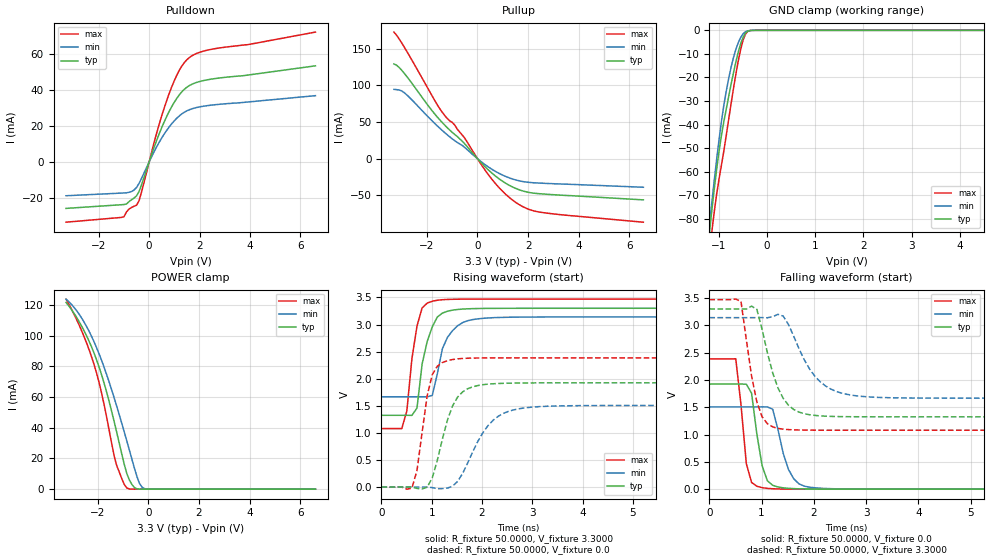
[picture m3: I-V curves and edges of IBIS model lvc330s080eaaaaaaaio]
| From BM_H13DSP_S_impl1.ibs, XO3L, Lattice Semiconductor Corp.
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[Model]   lvc330s080eaaaaaaaio
Model_type   I/O
Polarity   Non-Inverting
Enable   Active-Low
Vinl =   0.8000V
Vinh =   2.0000V
Vmeas =   1.500000V
Cref =   0.0F
Rref =   1.0000M
Vref =   0.0V
C_comp   4.2000pF   3.8000pF   7.5000pF
[Temperature Range]   25.0000   0.1250k   -40.0000
[Voltage Range]   3.3000V   3.1400V   3.4700V
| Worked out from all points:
|   slope of the pulldown table from 0 to 0.495 V, typ, clamps not added: 26 ohm
|   slope of the pullup table from 0 to 0.495 V, typ, clamps not added: 28.5 ohm
|   GND clamp passes 1 mA (typ) near -0.44 V on its own axis
|   POWER clamp passes 1 mA (typ) near -0.54 V on its own axis
|   rising waveform, R_fixture 50.0000, V_fixture 3.3000: 20-80 % time 251ps typ, 301ps min, 192ps max; typ from 1.32 V to 3.3 V
|   rising waveform, R_fixture 50.0000, V_fixture 0.0: 20-80 % time 363ps typ, 551ps min, 235ps max; typ from 0 V to 1.92 V
|   falling waveform, R_fixture 50.0000, V_fixture 0.0: 20-80 % time 188ps typ, 267ps min, 144ps max; typ from 1.92 V to 0 V
|   falling waveform, R_fixture 50.0000, V_fixture 3.3000: 20-80 % time 370ps typ, 535ps min, 253ps max; typ from 3.3 V to 1.32 V
[Pulldown]
|Voltage   I(typ)   I(min)   I(max)
-3.3V     -25.87mA   -18.83mA   -33.56mA
-1.1V     -23.82mA   -17.33mA   -30.89mA
-1V       -23.72mA   -17.27mA   -30.52mA
-900mV    -23.42mA   -17.2mA    -27.86mA
-500mV    -18.89mA   -14.22mA   -24.07mA
-400mV    -16.44mA   -11.92mA   -21.58mA
300mV     12.11mA    8.499mA    16.2mA
800mV     28.3mA     19.6mA     38.33mA
1.2V      37.47mA    25.7mA     51.17mA
1.6V      42.61mA    29.13mA    58.23mA
2.4V      46.02mA    31.56mA    62.59mA
6.6V      53.58mA    36.95mA    72.38mA
[Pullup]
|Voltage   I(typ)   I(min)   I(max)
-3.3V     129.4mA    94.68mA    172.9mA
-3V       121.1mA    92.7mA     158.5mA
-2.8V     112.6mA    87.43mA    147.1mA
-1.4V     49.72mA    38.86mA    63.81mA
-900mV    33.12mA    24.63mA    45.95mA
-500mV    20.21mA    15.31mA    27.84mA
500mV     -17.54mA   -12.91mA   -25.01mA
1V        -31.01mA   -22.53mA   -44.83mA
1.4V      -38.87mA   -27.91mA   -56.93mA
1.9V      -45.07mA   -31.81mA   -67.31mA
2.5V      -47.95mA   -33.38mA   -73.15mA
6.55V     -56.22mA   -38.99mA   -86.7mA
[GND_clamp]
|Voltage   I(typ)   I(min)   I(max)
-3.3V     -955.3mA   -930.3mA   -978mA
-1.2V     -86.18mA   -82.93mA   -94.91mA
-1.15V    -76.73mA   -73.29mA   -85.74mA
-1.1V     -67.71mA   -63.95mA   -77.28mA
-1V       -51.52mA   -46.57mA   -63.21mA
-900mV    -38.87mA   -31.88mA   -51.26mA
-800mV    -28.25mA   -20.58mA   -37.97mA
-700mV    -18.1mA    -11.63mA   -24.81mA
-600mV    -9.267mA   -5.265mA   -13.06mA
-450mV    -1.181mA   -586.6uA   -1.592mA
-250mV    -3.532uA   -4.055uA   -3.003uA
6.6V      0A         0A         0A
[POWER_clamp]
|Voltage   I(typ)   I(min)   I(max)
-3.25V    121.6mA    123.7mA    123.8mA
-2.55V    103.6mA    109.2mA    99.91mA
-2.05V    84.55mA    92.42mA    76.01mA
-1.85V    74.75mA    84.09mA    62.98mA
-1.65V    63.47mA    74.86mA    47.24mA
-1.35V    44.14mA    59.56mA    21.79mA
-1.25V    37.23mA    54.16mA    15.46mA
-850mV    10.22mA    31.49mA    813uA
-650mV    3.122mA    19.66mA    19.66uA
-350mV    37.56uA    3.815mA    1.535uA
-150mV    934.2nA    336.7uA    1.026uA
6.6V      -57.56nA   -49.34nA   -232.5nA
[Ramp]
| variable   typ   min   max
dV/dt_r  1.1542/0.3590n   0.9035/0.5460n   1.4308/0.2329n
dV/dt_f  1.1855/0.3662n   0.8843/0.5297n   1.4345/0.2507n
R_load = 50.0000
[Rising Waveform]
R_fixture=   50.0000
V_fixture=   3.3000
V_fixture_min=   3.1400
V_fixture_max=   3.4700
|time   V(typ)   V(min)   V(max)
0s        1.324V     1.666V     1.079V
404ps     1.324V     1.666V     1.079V
505.1ps   1.324V     1.666V     1.407V
606.1ps   1.323V     1.666V     2.373V
707.1ps   1.46V      1.666V     2.973V
808.1ps   2.269V     1.667V     3.306V
1.01ns    2.956V     1.691V     3.43V
1.313ns   3.246V     2.765V     3.463V
1.818ns   3.293V     3.091V     3.469V
10ns      3.3V       3.14V      3.47V
[Rising Waveform]
R_fixture=   50.0000
V_fixture=   0.0
V_fixture_min=   0.0
V_fixture_max=   0.0
|time   V(typ)   V(min)   V(max)
0s        830nV      1.065uV    812.2nV
606.1ps   -647.3uV   2.343uV    -19.28mV
707.1ps   -25.56mV   18.24uV    307.2mV
909.1ps   -1.644mV   -352.6uV   1.685V
1.01ns    168.3mV    -10.05mV   2.075V
1.313ns   1.24V      -19.03mV   2.334V
1.717ns   1.816V     450.2mV    2.378V
2.121ns   1.9V       1.136V     2.384V
2.727ns   1.921V     1.444V     2.385V
10ns      1.924V     1.506V     2.385V
[Falling Waveform]
R_fixture=   50.0000
V_fixture=   0.0
V_fixture_min=   0.0
V_fixture_max=   0.0
|time   V(typ)   V(min)   V(max)
0s        1.924V     1.506V     2.385V
505.1ps   1.924V     1.506V     2.387V
707.1ps   1.923V     1.506V     469.1mV
808.1ps   1.757V     1.506V     123.1mV
1.01ns    427.9mV    1.507V     27.45mV
1.212ns   71.02mV    1.464V     7.412mV
1.414ns   24.43mV    655.3mV    2.129mV
1.616ns   9.884mV    189mV      652.9uV
1.919ns   2.628mV    35.9mV     184.5uV
10ns      -6.753uV   -8.585uV   -14.06uV
[Falling Waveform]
R_fixture=   50.0000
V_fixture=   3.3000
V_fixture_min=   3.1400
V_fixture_max=   3.4700
|time   V(typ)   V(min)   V(max)
0s        3.3V       3.14V      3.47V
606.1ps   3.3V       3.14V      3.436V
808.1ps   3.351V     3.14V      2.072V
909.1ps   3.292V     3.14V      1.597V
1.111ns   2.497V     3.138V     1.198V
1.313ns   1.855V     3.2V       1.113V
1.616ns   1.458V     2.796V     1.086V
2.02ns    1.35V      2.067V     1.08V
2.626ns   1.327V     1.737V     1.079V
10ns      1.324V     1.666V     1.079V
